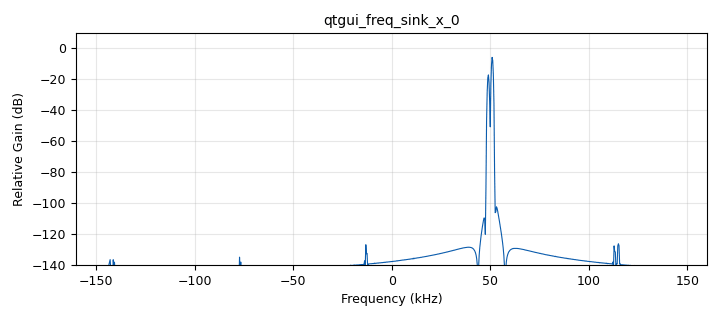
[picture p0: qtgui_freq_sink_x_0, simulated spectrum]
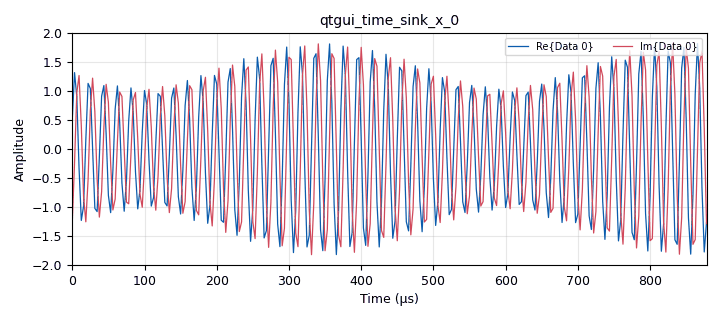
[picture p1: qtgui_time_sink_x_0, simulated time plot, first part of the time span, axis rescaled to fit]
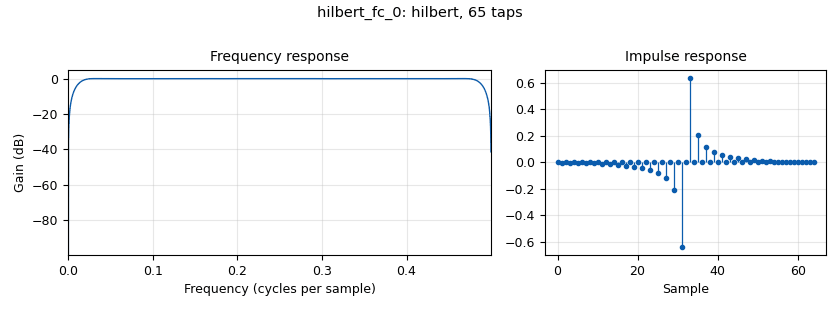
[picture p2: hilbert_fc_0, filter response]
options:
  parameters:
    author: Junio
    generate_options: qt_gui
    id: ssb
    output_language: python
    title: Not titled yet
  states: {}

blocks:
- name: f_c
  id: variable_qtgui_range
  parameters:
    label: Carrier Frequency
    start: 50e3
    step: 2e3
    stop: 100e3
    value: 50e3
  states: {}
- name: samp_rate
  id: variable
  parameters:
    value: 32e4
  states: {}
- name: analog_sig_source_x_0_0
  id: analog_sig_source_x
  parameters:
    amp: '1'
    freq: '1000'
    offset: '0'
    phase: '0'
    samp_rate: samp_rate
    type: float
    waveform: analog.GR_COS_WAVE
  states: {}
- name: analog_sig_source_x_0_0_0
  id: analog_sig_source_x
  parameters:
    amp: '1'
    freq: '1000'
    offset: '0'
    phase: '0'
    samp_rate: samp_rate
    type: complex
    waveform: analog.GR_COS_WAVE
  states: {}
- name: analog_sig_source_x_0_0_0_0
  id: analog_sig_source_x
  parameters:
    amp: '1'
    freq: f_c
    offset: '0'
    phase: '0'
    samp_rate: samp_rate
    type: complex
    waveform: analog.GR_COS_WAVE
  states: {}
- name: blocks_add_xx_0
  id: blocks_add_xx
  parameters:
    type: complex
  states: {}
- name: blocks_multiply_xx_0
  id: blocks_multiply_xx
  parameters:
    type: complex
  states: {}
- name: blocks_phase_shift_0
  id: blocks_phase_shift
  parameters:
    is_radians: 'True'
    shift: np.pi/2
  states: {}
- name: hilbert_fc_0
  id: hilbert_fc
  parameters:
    num_taps: '65'
  states: {}
- name: import_0
  id: import
  parameters:
    imports: import numpy as np
  states: {}
- name: qtgui_freq_sink_x_0
  id: qtgui_freq_sink_x
  parameters:
    bw: samp_rate
    fc: '0'
    fftsize: '1024'
    type: complex
  states: {}
- name: qtgui_time_sink_x_0
  id: qtgui_time_sink_x
  parameters:
    size: '1024'
    srate: samp_rate
    type: complex
  states: {}

connections:
- [analog_sig_source_x_0_0, '0', hilbert_fc_0, '0']
- [analog_sig_source_x_0_0_0, '0', blocks_add_xx_0, '0']
- [analog_sig_source_x_0_0_0_0, '0', blocks_multiply_xx_0, '0']
- [blocks_add_xx_0, '0', blocks_multiply_xx_0, '1']
- [blocks_multiply_xx_0, '0', qtgui_freq_sink_x_0, '0']
- [blocks_multiply_xx_0, '0', qtgui_time_sink_x_0, '0']
- [blocks_phase_shift_0, '0', blocks_add_xx_0, '1']
- [hilbert_fc_0, '0', blocks_phase_shift_0, '0']

metadata:
  file_format: 1
  grc_version: 3.10.11.0
